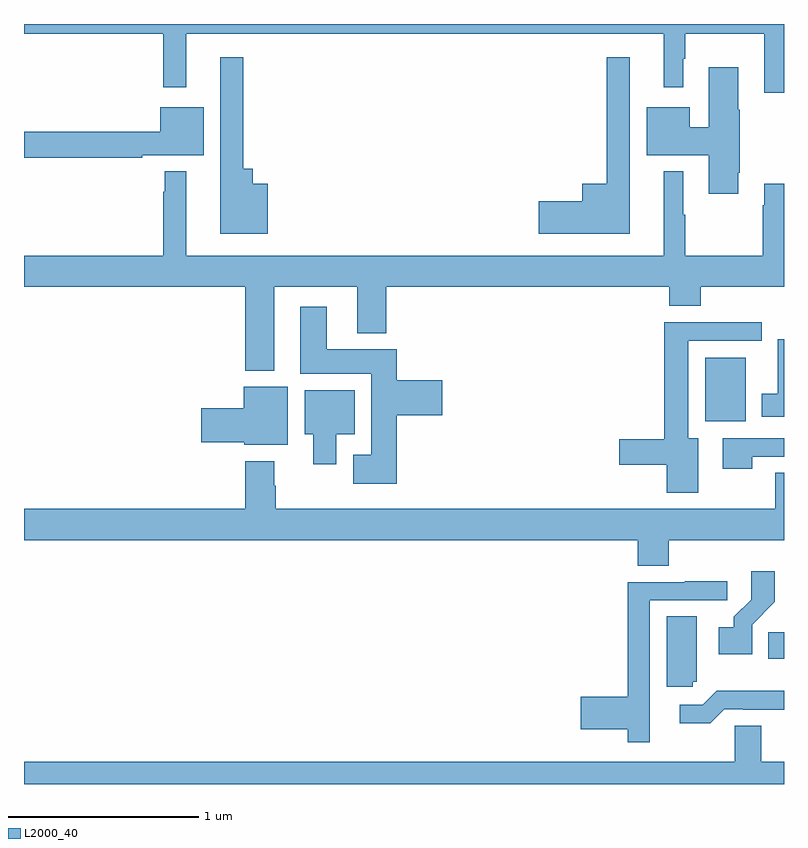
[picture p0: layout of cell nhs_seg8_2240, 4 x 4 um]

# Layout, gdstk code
import gdstk
lib = gdstk.Library(unit=1e-6, precision=1e-09)
def R(c, l, rs):  # rectangles x0, y0, x1, y1
    for r in rs: c.add(gdstk.rectangle(r[:2], r[2:], *l))
def P(c, l, *ps):  # polygons
    for p in ps: c.add(gdstk.Polygon(p, *l))
L2000_40 = (2000, 40)

nhs_seg8_2240 = lib.new_cell('nhs_seg8_2240')
R(nhs_seg8_2240, L2000_40, [(256.918,1098.56,257,1098.698), (256.586,1099.808,256.798,1100.143)])
P(nhs_seg8_2240, L2000_40, [(257,1101.9),(253,1101.9),(253,1101.848),(253.734,1101.848),(253.734,1101.567),(253.855,1101.567),(253.855,1101.848),(256.367,1101.848),(256.367,1101.567),(256.471,1101.567),(256.471,1101.716),(256.481,1101.716),(256.481,1101.848),(256.895,1101.848),(256.895,1101.537),(257,1101.537)],
  [(256.189,1101.724),(256.068,1101.724),(256.068,1101.058),(255.938,1101.058),(255.938,1100.966),(255.708,1100.966),(255.708,1100.795),(256.189,1100.795)],
  [(254.284,1101.058),(254.204,1101.058),(254.204,1101.139),(254.155,1101.139),(254.155,1101.724),(254.033,1101.724),(254.033,1100.795),(254.284,1100.795)],
  [(256.759,1101.118),(256.767,1101.118),(256.767,1101.449),(256.759,1101.449),(256.759,1101.673),(256.604,1101.673),(256.604,1101.356),(256.504,1101.356),(256.504,1101.463),(256.277,1101.463),(256.277,1101.209),(256.604,1101.209),(256.604,1101.006),(256.759,1101.006)],
  [(253.622,1101.209),(253.945,1101.209),(253.945,1101.463),(253.718,1101.463),(253.718,1101.332),(253,1101.332),(253,1101.196),(253.622,1101.196)],
  [(253.74,1101.124),(253.74,1101.017),(253.734,1101.017),(253.734,1100.68),(253,1100.68),(253,1100.516),(254.165,1100.516),(254.165,1100.075),(254.317,1100.075),(254.317,1100.516),(254.753,1100.516),(254.753,1100.273),(254.906,1100.273),(254.906,1100.516),(256.397,1100.516),(256.397,1100.417),(256.562,1100.417),(256.562,1100.516),(257,1100.516),(257,1101.058),(256.895,1101.058),(256.895,1100.945),(256.888,1100.945),(256.888,1100.68),(256.481,1100.68),(256.481,1100.897),(256.471,1100.897),(256.471,1101.124),(256.367,1101.124),(256.367,1100.68),(253.855,1100.68),(253.855,1101.124)],
  [(254.963,1099.841),(255.202,1099.841),(255.202,1100.024),(254.963,1100.024),(254.963,1100.188),(254.593,1100.188),(254.593,1100.413),(254.453,1100.413),(254.453,1100.06),(254.828,1100.06),(254.828,1099.633),(254.733,1099.633),(254.733,1099.481),(254.963,1099.481)],
  [(256.549,1099.72),(256.495,1099.72),(256.495,1100.232),(256.882,1100.232),(256.882,1100.33),(256.37,1100.33),(256.37,1099.715),(256.134,1099.715),(256.134,1099.58),(256.382,1099.58),(256.382,1099.434),(256.549,1099.434)],
  [(257,1100.242),(256.967,1100.242),(256.967,1099.954),(256.883,1099.954),(256.883,1099.832),(257,1099.832)],
  [(254.389,1099.99),(254.156,1099.99),(254.156,1099.877),(253.932,1099.877),(253.932,1099.699),(254.16,1099.699),(254.16,1099.685),(254.389,1099.685)],
  [(254.644,1099.742),(254.74,1099.742),(254.74,1099.972),(254.477,1099.972),(254.477,1099.742),(254.522,1099.742),(254.522,1099.584),(254.644,1099.584)],
  [(256.833,1099.623),(257,1099.623),(257,1099.719),(256.677,1099.719),(256.677,1099.56),(256.833,1099.56)],
  [(256.394,1099.184),(257,1099.184),(257,1099.538),(256.954,1099.538),(256.954,1099.348),(254.325,1099.348),(254.325,1099.469),(254.317,1099.469),(254.317,1099.6),(254.165,1099.6),(254.165,1099.348),(253,1099.348),(253,1099.184),(256.229,1099.184),(256.229,1099.048),(256.394,1099.048)],
  [(256.833,1098.739),(256.952,1098.858),(256.952,1099.021),(256.827,1099.021),(256.827,1098.869),(256.736,1098.779),(256.736,1098.724),(256.656,1098.724),(256.656,1098.584),(256.833,1098.584)],
  [(256.294,1098.342),(256.293,1098.342),(256.293,1098.867),(256.702,1098.867),(256.702,1098.966),(256.477,1098.966),(256.477,1098.963),(256.177,1098.963),(256.177,1098.359),(255.93,1098.359),(255.93,1098.188),(256.177,1098.188),(256.177,1098.12),(256.294,1098.12)],
  [(256.521,1098.438),(256.54,1098.438),(256.54,1098.782),(256.382,1098.782),(256.382,1098.411),(256.521,1098.411)],
  [(256.686,1098.294),(256.786,1098.294),(256.786,1098.291),(257,1098.291),(257,1098.391),(256.645,1098.391),(256.572,1098.318),(256.452,1098.318),(256.452,1098.221),(256.613,1098.221)],
  [(257,1098.016),(256.879,1098.016),(256.879,1098.206),(256.74,1098.206),(256.74,1098.016),(253,1098.016),(253,1097.9),(257,1097.9)])

lib.write_gds('nhs_seg8_2240.gds')
